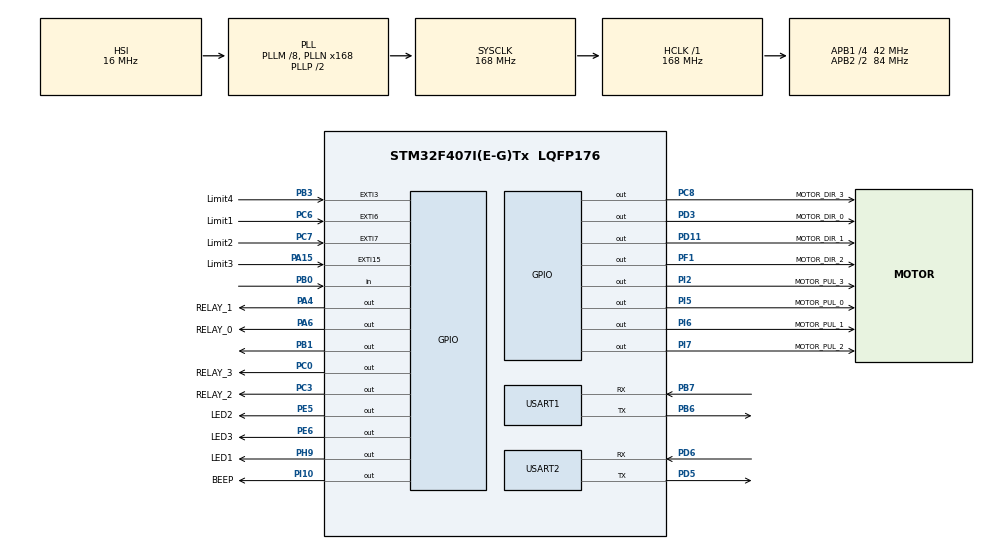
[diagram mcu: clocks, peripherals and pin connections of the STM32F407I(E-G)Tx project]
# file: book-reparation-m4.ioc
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FREERTOS.BinarySemaphores01=mySem_move,Dynamic,NULL
FREERTOS.Tasks01=defaultTask,0,128,StartDefaultTask,Default,NULL,Dynamic,NULL,NULL;limitTask,-3,128,LimitTask,Default,NULL,Dynamic,NULL,NULL;stepmoveTask,-3,128,StepmoveTask,Default,NULL,Dynamic,NULL,NULL
Mcu.Family=STM32F4
Mcu.Name=STM32F407I(E-G)Tx
Mcu.Package=LQFP176
NVIC.EXTI15_10_IRQn=true\:5\:0\:false\:false\:true\:true\:true\:true
NVIC.EXTI3_IRQn=true\:5\:0\:false\:false\:true\:true\:true\:true
NVIC.EXTI9_5_IRQn=true\:5\:0\:true\:false\:true\:true\:true\:true
NVIC.PriorityGroup=NVIC_PRIORITYGROUP_4
NVIC.TIM4_IRQn=true\:0\:0\:false\:false\:true\:false\:false\:true
NVIC.TimeBase=TIM4_IRQn
NVIC.TimeBaseIP=TIM4
NVIC.USART1_IRQn=true\:5\:0\:true\:false\:true\:true\:true\:true
PA13.Mode=Serial_Wire
PA13.Signal=SYS_JTMS-SWDIO
PA14.Mode=Serial_Wire
PA14.Signal=SYS_JTCK-SWCLK
PA15.GPIO_Label=Limit3
PA15.GPIO_ModeDefaultEXTI=GPIO_MODE_IT_FALLING
PA15.GPIO_PuPd=GPIO_PULLUP
PA15.Signal=GPXTI15
PA4.GPIO_Label=RELAY_1
PA4.GPIO_Speed=GPIO_SPEED_FREQ_HIGH
PA4.Signal=GPIO_Output
PA6.GPIO_Label=RELAY_0
PA6.GPIO_Speed=GPIO_SPEED_FREQ_HIGH
PA6.Signal=GPIO_Output
PB0.GPIO_PuPd=GPIO_PULLUP
PB0.Signal=GPIO_Input
PB1.GPIO_PuPd=GPIO_NOPULL
PB1.GPIO_Speed=GPIO_SPEED_FREQ_HIGH
PB1.PinState=GPIO_PIN_RESET
PB1.Signal=GPIO_Output
PB3.GPIO_Label=Limit4
PB3.GPIO_ModeDefaultEXTI=GPIO_MODE_IT_FALLING
PB3.GPIO_PuPd=GPIO_PULLUP
PB3.Signal=GPXTI3
PB6.GPIO_Speed=GPIO_SPEED_FREQ_HIGH
PB6.Mode=Asynchronous
PB6.Signal=USART1_TX
PB7.GPIO_Speed=GPIO_SPEED_FREQ_HIGH
PB7.Mode=Asynchronous
PB7.Signal=USART1_RX
PC0.GPIO_Label=RELAY_3
PC0.GPIO_Speed=GPIO_SPEED_FREQ_HIGH
PC0.Signal=GPIO_Output
PC3.GPIO_Label=RELAY_2
PC3.GPIO_Speed=GPIO_SPEED_FREQ_HIGH
PC3.Signal=GPIO_Output
PC6.GPIO_Label=Limit1
PC6.GPIO_ModeDefaultEXTI=GPIO_MODE_IT_FALLING
PC6.GPIO_PuPd=GPIO_PULLUP
PC6.Signal=GPXTI6
PC7.GPIO_Label=Limit2
PC7.GPIO_ModeDefaultEXTI=GPIO_MODE_IT_FALLING
PC7.GPIO_PuPd=GPIO_PULLUP
PC7.Signal=GPXTI7
PC8.GPIO_Label=MOTOR_DIR_3
PC8.GPIO_Speed=GPIO_SPEED_FREQ_HIGH
PC8.PinState=GPIO_PIN_SET
PC8.Signal=GPIO_Output
PD11.GPIO_Label=MOTOR_DIR_1
PD11.GPIO_Speed=GPIO_SPEED_FREQ_HIGH
PD11.PinState=GPIO_PIN_SET
PD11.Signal=GPIO_Output
PD3.GPIO_Label=MOTOR_DIR_0
PD3.GPIO_Speed=GPIO_SPEED_FREQ_HIGH
PD3.PinState=GPIO_PIN_SET
PD3.Signal=GPIO_Output
PD5.Mode=Asynchronous
PD5.Signal=USART2_TX
PD6.Mode=Asynchronous
PD6.Signal=USART2_RX
PE5.GPIO_Label=LED2
PE5.GPIO_Speed=GPIO_SPEED_FREQ_HIGH
PE5.PinState=GPIO_PIN_SET
PE5.Signal=GPIO_Output
PE6.GPIO_Label=LED3
PE6.GPIO_Speed=GPIO_SPEED_FREQ_HIGH
PE6.PinState=GPIO_PIN_SET
PE6.Signal=GPIO_Output
PF1.GPIO_Label=MOTOR_DIR_2
PF1.GPIO_Speed=GPIO_SPEED_FREQ_HIGH
PF1.PinState=GPIO_PIN_SET
PF1.Signal=GPIO_Output
PH9.GPIO_Label=LED1
PH9.GPIO_Speed=GPIO_SPEED_FREQ_HIGH
PH9.PinState=GPIO_PIN_SET
PH9.Signal=GPIO_Output
PI10.GPIO_Label=BEEP
PI10.GPIO_Speed=GPIO_SPEED_FREQ_HIGH
PI10.PinState=GPIO_PIN_SET
PI10.Signal=GPIO_Output
PI2.GPIO_Label=MOTOR_PUL_3
PI2.GPIO_Speed=GPIO_SPEED_FREQ_HIGH
PI2.PinState=GPIO_PIN_SET
PI2.Signal=GPIO_Output
PI5.GPIO_Label=MOTOR_PUL_0
PI5.GPIO_Speed=GPIO_SPEED_FREQ_HIGH
PI5.PinState=GPIO_PIN_SET
PI5.Signal=GPIO_Output
PI6.GPIO_Label=MOTOR_PUL_1
PI6.GPIO_Speed=GPIO_SPEED_FREQ_HIGH
PI6.PinState=GPIO_PIN_SET
PI6.Signal=GPIO_Output
PI7.GPIO_Label=MOTOR_PUL_2
PI7.GPIO_Speed=GPIO_SPEED_FREQ_HIGH
PI7.PinState=GPIO_PIN_SET
PI7.Signal=GPIO_Output
ProjectManager.HeapSize=0x200
ProjectManager.StackSize=0x400
ProjectManager.TargetToolchain=MDK-ARM V5.27
RCC.48MHZClocksFreq_Value=84000000
RCC.AHBFreq_Value=168000000
RCC.APB1CLKDivider=RCC_HCLK_DIV4
RCC.APB1Freq_Value=42000000
RCC.APB1TimFreq_Value=84000000
RCC.APB2CLKDivider=RCC_HCLK_DIV2
RCC.APB2Freq_Value=84000000
RCC.APB2TimFreq_Value=168000000
RCC.CortexFreq_Value=168000000
RCC.HCLKFreq_Value=168000000
RCC.HSE_VALUE=25000000
RCC.HSI_VALUE=16000000
RCC.LSE_VALUE=32768
RCC.PLLM=8
RCC.PLLN=168
RCC.SYSCLKFreq_VALUE=168000000
RCC.SYSCLKSource=RCC_SYSCLKSOURCE_PLLCLK
RCC.VCOOutputFreq_Value=336000000
USART1.VirtualMode=VM_ASYNC
USART2.VirtualMode=VM_ASYNC
VP_FREERTOS_VS_CMSIS_V1.Mode=CMSIS_V1
VP_SYS_VS_tim4.Mode=TIM4
board=custom

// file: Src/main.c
/* USER CODE BEGIN Header */
/**
  ******************************************************************************
  * @file           : main.c
  * @brief          : Main program body
  ******************************************************************************
  * @attention
  *
  * <h2><center>&copy; Copyright (c) 2021 STMicroelectronics.
  * All rights reserved.</center></h2>
  *
  * This software component is licensed by ST under Ultimate Liberty license
  * SLA0044, the "License"; You may not use this file except in compliance with
  * the License. You may obtain a copy of the License at:
  *                             www.st.com/SLA0044
  *
  ******************************************************************************
  */
/* USER CODE END Header */

#include "main.h"
#include "cmsis_os.h"

/* USER CODE BEGIN Includes */
#include "bsp_steper.h"
/* USER CODE END Includes */

UART_HandleTypeDef huart1;
UART_HandleTypeDef huart2;

osThreadId defaultTaskHandle;
osThreadId limitTaskHandle;
osThreadId stepmoveTaskHandle;
osSemaphoreId mySem_moveHandle;
/* USER CODE BEGIN PV */
extern Stepper_TypeDef stepers[4];
extern uint8_t recieveData[20];
extern uint8_t stopflag;
char *str;
/* USER CODE END PV */

void SystemClock_Config(void);
static void MX_GPIO_Init(void);
static void MX_USART1_UART_Init(void);
static void MX_USART2_UART_Init(void);
void StartDefaultTask(void const * argument);
void LimitTask(void const * argument);
void StepmoveTask(void const * argument);

/* USER CODE BEGIN PFP */
void returnOrigin(void);
/* USER CODE END PFP */

/* USER CODE BEGIN 0 */
static void NVIC_Close_Config()
{
  HAL_NVIC_DisableIRQ(EXTI3_IRQn);

  HAL_NVIC_DisableIRQ(EXTI9_5_IRQn);

  HAL_NVIC_DisableIRQ(EXTI15_10_IRQn);
}
/**
* @brief  return 0 point
* @param  ��
* @note   return 0 point and set the current coordinates.
* @retval ��
*/
void returnOrigin()
{
	while(stepers[0].stopFlag == 0){
		steperMove045mm(0, 0, 1000);
	}
	stepers[0].distance = 0;
	HAL_UART_Transmit_IT(&huart1, (uint8_t *)"step1 is up\n",13);

	stepers[1].stopFlag = 0;
	while(stepers[1].stopFlag == 0){
		steperMove045mm(1, 1, 1000);
	}
  stepers[1].distance = 0;
	HAL_UART_Transmit_IT(&huart1, (uint8_t *)"step2 is up\t\n",13);

	steperMove(3, 0, 1000, 10);
	steperMove(2, 0, 1000, 10);
	osDelay(50);
	stepers[2].stopFlag = 0;
	stepers[3].stopFlag = 0;
	while(stepers[2].stopFlag == 0){
		steperMove045mm(2, 1, 1000);
	}
  stepers[2].distance = 0;
	HAL_UART_Transmit_IT(&huart1, (uint8_t *)"step3 is up\t\n",13);

	while(stepers[3].stopFlag == 0){
		steperMove045mm(3, 1, 50);
	}
  stepers[3].distance = 0;
	HAL_UART_Transmit_IT(&huart1, (uint8_t *)"step4 is up\t\n",13);

	NVIC_Close_Config();
}

/* USER CODE END 0 */

int main(void)
{

  /* MCU Configuration--------------------------------------------------------*/

  /* Reset of all peripherals, Initializes the Flash interface and the Systick. */
  HAL_Init();

  /* Configure the system clock */
  SystemClock_Config();

  /* Initialize all configured peripherals */
  MX_GPIO_Init();
  MX_USART1_UART_Init();
  MX_USART2_UART_Init();
  /* USER CODE BEGIN 2 */
	delay_init(168);
	HAL_GPIO_WritePin(BEEP_GPIO_Port, BEEP_Pin, GPIO_PIN_RESET);
  /* USER CODE END 2 */

  /* Create the semaphores(s) */
  /* definition and creation of mySem_move */
  osSemaphoreDef(mySem_move);
  mySem_moveHandle = osSemaphoreCreate(osSemaphore(mySem_move), 1);

  /* Create the thread(s) */
  /* definition and creation of defaultTask */
  osThreadDef(defaultTask, StartDefaultTask, osPriorityNormal, 0, 128);
  defaultTaskHandle = osThreadCreate(osThread(defaultTask), NULL);

  /* definition and creation of limitTask */
  osThreadDef(limitTask, LimitTask, osPriorityIdle, 0, 128);
  limitTaskHandle = osThreadCreate(osThread(limitTask), NULL);

  /* definition and creation of stepmoveTask */
  osThreadDef(stepmoveTask, StepmoveTask, osPriorityIdle, 0, 128);
  stepmoveTaskHandle = osThreadCreate(osThread(stepmoveTask), NULL);

  /* Start scheduler */
  osKernelStart();

  /* We should never get here as control is now taken by the scheduler */
  /* Infinite loop */
  while (1)
  {

  }
}

void SystemClock_Config(void)
{
  RCC_OscInitTypeDef RCC_OscInitStruct = {0};
  RCC_ClkInitTypeDef RCC_ClkInitStruct = {0};

  /** Configure the main internal regulator output voltage
  */
  __HAL_RCC_PWR_CLK_ENABLE();
  __HAL_PWR_VOLTAGESCALING_CONFIG(PWR_REGULATOR_VOLTAGE_SCALE1);
  /** Initializes the CPU, AHB and APB busses clocks
  */
  RCC_OscInitStruct.OscillatorType = RCC_OSCILLATORTYPE_HSI;
  RCC_OscInitStruct.HSIState = RCC_HSI_ON;
  RCC_OscInitStruct.HSICalibrationValue = RCC_HSICALIBRATION_DEFAULT;
  RCC_OscInitStruct.PLL.PLLState = RCC_PLL_ON;
  RCC_OscInitStruct.PLL.PLLSource = RCC_PLLSOURCE_HSI;
  RCC_OscInitStruct.PLL.PLLM = 8;
  RCC_OscInitStruct.PLL.PLLN = 168;
  RCC_OscInitStruct.PLL.PLLP = RCC_PLLP_DIV2;
  RCC_OscInitStruct.PLL.PLLQ = 4;
  if (HAL_RCC_OscConfig(&RCC_OscInitStruct) != HAL_OK)
  {
    Error_Handler();
  }
  /** Initializes the CPU, AHB and APB busses clocks
  */
  RCC_ClkInitStruct.ClockType = RCC_CLOCKTYPE_HCLK|RCC_CLOCKTYPE_SYSCLK
                              |RCC_CLOCKTYPE_PCLK1|RCC_CLOCKTYPE_PCLK2;
  RCC_ClkInitStruct.SYSCLKSource = RCC_SYSCLKSOURCE_PLLCLK;
  RCC_ClkInitStruct.AHBCLKDivider = RCC_SYSCLK_DIV1;
  RCC_ClkInitStruct.APB1CLKDivider = RCC_HCLK_DIV4;
  RCC_ClkInitStruct.APB2CLKDivider = RCC_HCLK_DIV2;

  if (HAL_RCC_ClockConfig(&RCC_ClkInitStruct, FLASH_LATENCY_5) != HAL_OK)
  {
    Error_Handler();
  }
}

static void MX_USART1_UART_Init(void)
{

  huart1.Instance = USART1;
  huart1.Init.BaudRate = 115200;
  huart1.Init.WordLength = UART_WORDLENGTH_8B;
  huart1.Init.StopBits = UART_STOPBITS_1;
  huart1.Init.Parity = UART_PARITY_NONE;
  huart1.Init.Mode = UART_MODE_TX_RX;
  huart1.Init.HwFlowCtl = UART_HWCONTROL_NONE;
  huart1.Init.OverSampling = UART_OVERSAMPLING_16;
  if (HAL_UART_Init(&huart1) != HAL_OK)
  {
    Error_Handler();
  }

}

static void MX_USART2_UART_Init(void)
{

  huart2.Instance = USART2;
  huart2.Init.BaudRate = 115200;
  huart2.Init.WordLength = UART_WORDLENGTH_8B;
  huart2.Init.StopBits = UART_STOPBITS_1;
  huart2.Init.Parity = UART_PARITY_NONE;
  huart2.Init.Mode = UART_MODE_TX_RX;
  huart2.Init.HwFlowCtl = UART_HWCONTROL_NONE;
  huart2.Init.OverSampling = UART_OVERSAMPLING_16;
  if (HAL_UART_Init(&huart2) != HAL_OK)
  {
    Error_Handler();
  }

}

static void MX_GPIO_Init(void)
{
  GPIO_InitTypeDef GPIO_InitStruct = {0};

  /* GPIO Ports Clock Enable */
  __HAL_RCC_GPIOE_CLK_ENABLE();
  __HAL_RCC_GPIOI_CLK_ENABLE();
  __HAL_RCC_GPIOF_CLK_ENABLE();
  __HAL_RCC_GPIOC_CLK_ENABLE();
  __HAL_RCC_GPIOA_CLK_ENABLE();
  __HAL_RCC_GPIOB_CLK_ENABLE();
  __HAL_RCC_GPIOH_CLK_ENABLE();
  __HAL_RCC_GPIOD_CLK_ENABLE();

  /*Configure GPIO pin Output Level */
  HAL_GPIO_WritePin(GPIOE, LED2_Pin|LED3_Pin, GPIO_PIN_SET);

  /*Configure GPIO pin Output Level */
  HAL_GPIO_WritePin(GPIOI, BEEP_Pin|MOTOR_PUL_3_Pin|MOTOR_PUL_0_Pin|MOTOR_PUL_1_Pin
                          |MOTOR_PUL_2_Pin, GPIO_PIN_SET);

  /*Configure GPIO pin Output Level */
  HAL_GPIO_WritePin(MOTOR_DIR_2_GPIO_Port, MOTOR_DIR_2_Pin, GPIO_PIN_SET);

  /*Configure GPIO pin Output Level */
  HAL_GPIO_WritePin(GPIOC, RELAY_3_Pin|RELAY_2_Pin, GPIO_PIN_RESET);

  /*Configure GPIO pin Output Level */
  HAL_GPIO_WritePin(GPIOA, RELAY_1_Pin|RELAY_0_Pin, GPIO_PIN_RESET);

  /*Configure GPIO pin Output Level */
  HAL_GPIO_WritePin(GPIOB, GPIO_PIN_1, GPIO_PIN_RESET);

  /*Configure GPIO pin Output Level */
  HAL_GPIO_WritePin(LED1_GPIO_Port, LED1_Pin, GPIO_PIN_SET);

  /*Configure GPIO pin Output Level */
  HAL_GPIO_WritePin(GPIOD, MOTOR_DIR_1_Pin|MOTOR_DIR_0_Pin, GPIO_PIN_SET);

  /*Configure GPIO pin Output Level */
  HAL_GPIO_WritePin(MOTOR_DIR_3_GPIO_Port, MOTOR_DIR_3_Pin, GPIO_PIN_SET);

  /*Configure GPIO pins : LED2_Pin LED3_Pin */
  GPIO_InitStruct.Pin = LED2_Pin|LED3_Pin;
  GPIO_InitStruct.Mode = GPIO_MODE_OUTPUT_PP;
  GPIO_InitStruct.Pull = GPIO_NOPULL;
  GPIO_InitStruct.Speed = GPIO_SPEED_FREQ_HIGH;
  HAL_GPIO_Init(GPIOE, &GPIO_InitStruct);

  /*Configure GPIO pins : BEEP_Pin MOTOR_PUL_3_Pin MOTOR_PUL_0_Pin MOTOR_PUL_1_Pin
                           MOTOR_PUL_2_Pin */
  GPIO_InitStruct.Pin = BEEP_Pin|MOTOR_PUL_3_Pin|MOTOR_PUL_0_Pin|MOTOR_PUL_1_Pin
                          |MOTOR_PUL_2_Pin;
  GPIO_InitStruct.Mode = GPIO_MODE_OUTPUT_PP;
  GPIO_InitStruct.Pull = GPIO_NOPULL;
  GPIO_InitStruct.Speed = GPIO_SPEED_FREQ_HIGH;
  HAL_GPIO_Init(GPIOI, &GPIO_InitStruct);

  /*Configure GPIO pin : MOTOR_DIR_2_Pin */
  GPIO_InitStruct.Pin = MOTOR_DIR_2_Pin;
  GPIO_InitStruct.Mode = GPIO_MODE_OUTPUT_PP;
  GPIO_InitStruct.Pull = GPIO_NOPULL;
  GPIO_InitStruct.Speed = GPIO_SPEED_FREQ_HIGH;
  HAL_GPIO_Init(MOTOR_DIR_2_GPIO_Port, &GPIO_InitStruct);

  /*Configure GPIO pins : RELAY_3_Pin RELAY_2_Pin MOTOR_DIR_3_Pin */
  GPIO_InitStruct.Pin = RELAY_3_Pin|RELAY_2_Pin|MOTOR_DIR_3_Pin;
  GPIO_InitStruct.Mode = GPIO_MODE_OUTPUT_PP;
  GPIO_InitStruct.Pull = GPIO_NOPULL;
  GPIO_InitStruct.Speed = GPIO_SPEED_FREQ_HIGH;
  HAL_GPIO_Init(GPIOC, &GPIO_InitStruct);

  /*Configure GPIO pins : RELAY_1_Pin RELAY_0_Pin */
  GPIO_InitStruct.Pin = RELAY_1_Pin|RELAY_0_Pin;
  GPIO_InitStruct.Mode = GPIO_MODE_OUTPUT_PP;
  GPIO_InitStruct.Pull = GPIO_NOPULL;
  GPIO_InitStruct.Speed = GPIO_SPEED_FREQ_HIGH;
  HAL_GPIO_Init(GPIOA, &GPIO_InitStruct);

  /*Configure GPIO pin : PB0 */
  GPIO_InitStruct.Pin = GPIO_PIN_0;
  GPIO_InitStruct.Mode = GPIO_MODE_INPUT;
  GPIO_InitStruct.Pull = GPIO_PULLUP;
  HAL_GPIO_Init(GPIOB, &GPIO_InitStruct);

  /*Configure GPIO pin : PB1 */
  GPIO_InitStruct.Pin = GPIO_PIN_1;
  GPIO_InitStruct.Mode = GPIO_MODE_OUTPUT_PP;
  GPIO_InitStruct.Pull = GPIO_NOPULL;
  GPIO_InitStruct.Speed = GPIO_SPEED_FREQ_HIGH;
  HAL_GPIO_Init(GPIOB, &GPIO_InitStruct);

  /*Configure GPIO pin : LED1_Pin */
  GPIO_InitStruct.Pin = LED1_Pin;
  GPIO_InitStruct.Mode = GPIO_MODE_OUTPUT_PP;
  GPIO_InitStruct.Pull = GPIO_NOPULL;
  GPIO_InitStruct.Speed = GPIO_SPEED_FREQ_HIGH;
  HAL_GPIO_Init(LED1_GPIO_Port, &GPIO_InitStruct);

  /*Configure GPIO pins : MOTOR_DIR_1_Pin MOTOR_DIR_0_Pin */
  GPIO_InitStruct.Pin = MOTOR_DIR_1_Pin|MOTOR_DIR_0_Pin;
  GPIO_InitStruct.Mode = GPIO_MODE_OUTPUT_PP;
  GPIO_InitStruct.Pull = GPIO_NOPULL;
  GPIO_InitStruct.Speed = GPIO_SPEED_FREQ_HIGH;
  HAL_GPIO_Init(GPIOD, &GPIO_InitStruct);

  /*Configure GPIO pins : Limit1_Pin Limit2_Pin */
  GPIO_InitStruct.Pin = Limit1_Pin|Limit2_Pin;
  GPIO_InitStruct.Mode = GPIO_MODE_IT_FALLING;
  GPIO_InitStruct.Pull = GPIO_PULLUP;
  HAL_GPIO_Init(GPIOC, &GPIO_InitStruct);

  /*Configure GPIO pin : Limit3_Pin */
  GPIO_InitStruct.Pin = Limit3_Pin;
  GPIO_InitStruct.Mode = GPIO_MODE_IT_FALLING;
  GPIO_InitStruct.Pull = GPIO_PULLUP;
  HAL_GPIO_Init(Limit3_GPIO_Port, &GPIO_InitStruct);

  /*Configure GPIO pin : Limit4_Pin */
  GPIO_InitStruct.Pin = Limit4_Pin;
  GPIO_InitStruct.Mode = GPIO_MODE_IT_FALLING;
  GPIO_InitStruct.Pull = GPIO_PULLUP;
  HAL_GPIO_Init(Limit4_GPIO_Port, &GPIO_InitStruct);

  /* EXTI interrupt init*/
  HAL_NVIC_SetPriority(EXTI3_IRQn, 5, 0);
  HAL_NVIC_EnableIRQ(EXTI3_IRQn);

  HAL_NVIC_SetPriority(EXTI9_5_IRQn, 5, 0);
  HAL_NVIC_EnableIRQ(EXTI9_5_IRQn);

  HAL_NVIC_SetPriority(EXTI15_10_IRQn, 5, 0);
  HAL_NVIC_EnableIRQ(EXTI15_10_IRQn);

}

void StartDefaultTask(void const * argument)
{
  /* USER CODE BEGIN 5 */
	HAL_GPIO_WritePin(BEEP_GPIO_Port, BEEP_Pin, GPIO_PIN_RESET);
  HAL_GPIO_WritePin(GPIOB, GPIO_PIN_1, GPIO_PIN_RESET);
	osDelay(1000);
	HAL_GPIO_WritePin(BEEP_GPIO_Port, BEEP_Pin, GPIO_PIN_SET);
	osDelay(200);
	HAL_GPIO_WritePin(BEEP_GPIO_Port, BEEP_Pin, GPIO_PIN_RESET);
	osDelay(200);

	returnOrigin();

	HAL_GPIO_WritePin(RELAY_0_GPIO_Port, RELAY_0_Pin, GPIO_PIN_RESET); // ��������
	HAL_GPIO_WritePin(RELAY_3_GPIO_Port, RELAY_3_Pin, GPIO_PIN_SET);   // �����
  /* Infinite loop */
  for(;;)
  {
		HAL_GPIO_WritePin(LED1_GPIO_Port, LED1_Pin, GPIO_PIN_RESET);
    osDelay(1000);
		HAL_GPIO_WritePin(LED1_GPIO_Port, LED1_Pin, GPIO_PIN_SET);
		osDelay(1000);

		// HAL_GPIO_WritePin(GPIOB, GPIO_PIN_1, GPIO_PIN_RESET);
//		steper_move(steper[2], 0, 2000, 90);
//		steper_move(steper[3], 0, 2000, 90);
//		steper_move(steper[2], 1, 2000, 90);
//		steper_move(steper[3], 1, 2000, 90);
  }
  /* USER CODE END 5 */
}

void LimitTask(void const * argument)
{
  /* USER CODE BEGIN LimitTask */
  /* Infinite loop */
  for(;;)
  {

		osDelay(10);
  }
  /* USER CODE END LimitTask */
}

void StepmoveTask(void const * argument)
{
  /* USER CODE BEGIN StepmoveTask */
  /* Infinite loop */
  for(;;)
  {
    xSemaphoreTake(mySem_moveHandle, portMAX_DELAY);

    HAL_UART_Transmit_IT(&huart1, (uint8_t *)"Recieve OK!\r\n",13);
    str = pvPortMalloc(24);
    if(recieveData[0] == 0x01){
      uint8_t motor = recieveData[1];
      uint8_t dir = recieveData[2];
      uint16_t pul = recieveData[3] << 8 | recieveData[4];
      steperMovePul(motor, dir, 1000, pul);
      sprintf(str, "motor%d dis=[%0.3f]\r\n", motor, stepers[motor].distance);
      HAL_UART_Transmit_IT(&huart1, (uint8_t *)str, 24);
    }else if(recieveData[0] == 0x02){
			uint16_t x = recieveData[1] << 8 | recieveData[2];
			uint16_t y = recieveData[3] << 8 | recieveData[4];
			double major_x = x*0.45;
			double major_y = y*0.45;
			steperCoordinateMajor(major_x, major_y);
		}else if(recieveData[0] == 0x03){
			int laser = recieveData[1];

			HAL_GPIO_WritePin(GPIOB, GPIO_PIN_1, (GPIO_PinState)laser);
		}

    vPortFree(str);
    osDelay(10);
  }
  /* USER CODE END StepmoveTask */
}

 /**
  * @brief  Period elapsed callback in non blocking mode
  * @note   This function is called  when TIM4 interrupt took place, inside
  * HAL_TIM_IRQHandler(). It makes a direct call to HAL_IncTick() to increment
  * a global variable "uwTick" used as application time base.
  * @param  htim : TIM handle
  * @retval None
  */
void HAL_TIM_PeriodElapsedCallback(TIM_HandleTypeDef *htim)
{
  if (htim->Instance == TIM4) {
    HAL_IncTick();
  }
}

void Error_Handler(void)
{
}

/************************ (C) COPYRIGHT STMicroelectronics *****END OF FILE****/
